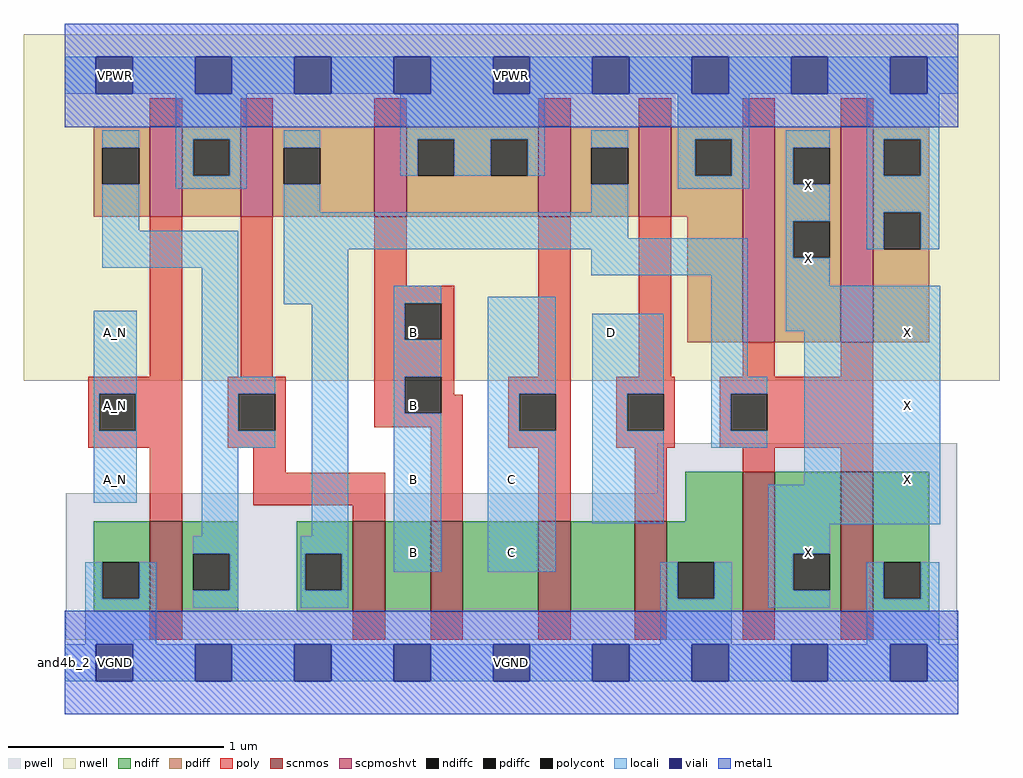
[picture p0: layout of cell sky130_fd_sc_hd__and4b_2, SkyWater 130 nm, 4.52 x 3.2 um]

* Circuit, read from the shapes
.subckt sky130_fd_sc_hd__and4b_2 A_N B C D VGND VNB VPB VPWR X
XM1 n1 A_N VGND VNB sky130_fd_pr__nfet_01v8 w=0.42 l=0.15
XM2 n2 n1 n3 VNB sky130_fd_pr__nfet_01v8 w=0.42 l=0.15
XM3 n4 B n2 VNB sky130_fd_pr__nfet_01v8 w=0.42 l=0.15
XM4 n5 C n4 VNB sky130_fd_pr__nfet_01v8 w=0.42 l=0.15
XM5 VGND D n5 VNB sky130_fd_pr__nfet_01v8 w=0.42 l=0.15
XM6 X n3 VGND VNB sky130_fd_pr__nfet_01v8 w=0.65 l=0.15 m=2
XM7 VPWR A_N n1 VPB sky130_fd_pr__pfet_01v8_hvt w=0.42 l=0.15
XM8 n3 n1 VPWR VPB sky130_fd_pr__pfet_01v8_hvt w=0.42 l=0.15
XM9 VPWR B n3 VPB sky130_fd_pr__pfet_01v8_hvt w=0.42 l=0.15
XM10 n3 C VPWR VPB sky130_fd_pr__pfet_01v8_hvt w=0.42 l=0.15
XM11 VPWR D n3 VPB sky130_fd_pr__pfet_01v8_hvt w=0.42 l=0.15
XM12 X n3 VPWR VPB sky130_fd_pr__pfet_01v8_hvt w=1 l=0.15 m=2
.ends

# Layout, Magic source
magic
tech sky130A
magscale 1 2
<< nwell >>
rect -38 261 866 582
<< pwell >>
rect 549 157 827 203
rect 1 21 827 157
rect 30 -17 64 21
<< scnmos >>
rect 79 47 109 131
rect 267 47 297 131
rect 339 47 369 131
rect 439 47 469 131
rect 528 47 558 131
rect 628 47 658 177
rect 719 47 749 177
<< scpmoshvt >>
rect 79 413 109 497
rect 163 413 193 497
rect 287 413 317 497
rect 439 413 469 497
rect 532 413 562 497
rect 628 297 658 497
rect 719 297 749 497
<< ndiff >>
rect 575 131 628 177
rect 27 93 79 131
rect 27 59 35 93
rect 69 59 79 93
rect 27 47 79 59
rect 109 101 161 131
rect 109 67 119 101
rect 153 67 161 101
rect 109 47 161 67
rect 215 101 267 131
rect 215 67 223 101
rect 257 67 267 101
rect 215 47 267 67
rect 297 47 339 131
rect 369 47 439 131
rect 469 47 528 131
rect 558 93 628 131
rect 558 59 568 93
rect 602 59 628 93
rect 558 47 628 59
rect 658 101 719 177
rect 658 67 675 101
rect 709 67 719 101
rect 658 47 719 67
rect 749 93 801 177
rect 749 59 759 93
rect 793 59 801 93
rect 749 47 801 59
<< pdiff >>
rect 27 477 79 497
rect 27 443 35 477
rect 69 443 79 477
rect 27 413 79 443
rect 109 485 163 497
rect 109 451 119 485
rect 153 451 163 485
rect 109 413 163 451
rect 193 477 287 497
rect 193 443 203 477
rect 237 443 287 477
rect 193 413 287 443
rect 317 485 439 497
rect 317 451 327 485
rect 361 451 395 485
rect 429 451 439 485
rect 317 413 439 451
rect 469 477 532 497
rect 469 443 488 477
rect 522 443 532 477
rect 469 413 532 443
rect 562 485 628 497
rect 562 451 584 485
rect 618 451 628 485
rect 562 413 628 451
rect 577 297 628 413
rect 658 477 719 497
rect 658 443 675 477
rect 709 443 719 477
rect 658 409 719 443
rect 658 375 675 409
rect 709 375 719 409
rect 658 297 719 375
rect 749 485 801 497
rect 749 451 759 485
rect 793 451 801 485
rect 749 417 801 451
rect 749 383 759 417
rect 793 383 801 417
rect 749 297 801 383
<< ndiffc >>
rect 35 59 69 93
rect 119 67 153 101
rect 223 67 257 101
rect 568 59 602 93
rect 675 67 709 101
rect 759 59 793 93
<< pdiffc >>
rect 35 443 69 477
rect 119 451 153 485
rect 203 443 237 477
rect 327 451 361 485
rect 395 451 429 485
rect 488 443 522 477
rect 584 451 618 485
rect 675 443 709 477
rect 675 375 709 409
rect 759 451 793 485
rect 759 383 793 417
<< poly >>
rect 79 497 109 523
rect 163 497 193 523
rect 287 497 317 523
rect 439 497 469 523
rect 532 497 562 523
rect 628 497 658 523
rect 719 497 749 523
rect 79 265 109 413
rect 163 265 193 413
rect 287 349 317 413
rect 287 333 361 349
rect 287 299 315 333
rect 349 299 361 333
rect 287 265 361 299
rect 439 265 469 413
rect 532 265 562 413
rect 628 265 658 297
rect 719 265 749 297
rect 22 249 109 265
rect 22 215 32 249
rect 66 215 109 249
rect 22 199 109 215
rect 151 249 205 265
rect 151 215 161 249
rect 195 215 205 249
rect 287 231 315 265
rect 349 248 361 265
rect 411 249 469 265
rect 349 231 369 248
rect 287 218 369 231
rect 151 199 205 215
rect 79 131 109 199
rect 175 176 205 199
rect 175 146 297 176
rect 267 131 297 146
rect 339 131 369 218
rect 411 215 421 249
rect 455 215 469 249
rect 411 199 469 215
rect 511 249 565 265
rect 511 215 521 249
rect 555 215 565 249
rect 511 199 565 215
rect 607 249 749 265
rect 607 215 617 249
rect 651 215 749 249
rect 607 199 749 215
rect 439 131 469 199
rect 528 131 558 199
rect 628 177 658 199
rect 719 177 749 199
rect 79 21 109 47
rect 267 21 297 47
rect 339 21 369 47
rect 439 21 469 47
rect 528 21 558 47
rect 628 21 658 47
rect 719 21 749 47
<< polycont >>
rect 315 299 349 333
rect 32 215 66 249
rect 161 215 195 249
rect 315 231 349 265
rect 421 215 455 249
rect 521 215 555 249
rect 617 215 651 249
<< locali >>
rect 0 527 29 561
rect 63 527 121 561
rect 155 527 213 561
rect 247 527 305 561
rect 339 527 397 561
rect 431 527 489 561
rect 523 527 581 561
rect 615 527 673 561
rect 707 527 765 561
rect 799 527 828 561
rect 35 477 69 493
rect 35 400 69 443
rect 103 485 169 527
rect 103 451 119 485
rect 153 451 169 485
rect 103 439 169 451
rect 203 477 237 493
rect 311 485 445 527
rect 311 451 327 485
rect 361 451 395 485
rect 429 451 445 485
rect 488 477 522 493
rect 203 417 237 443
rect 488 417 522 443
rect 568 485 634 527
rect 568 451 584 485
rect 618 451 634 485
rect 568 439 634 451
rect 668 477 709 493
rect 668 443 675 477
rect 35 366 161 400
rect 27 249 67 326
rect 27 215 32 249
rect 66 215 67 249
rect 27 148 67 215
rect 127 265 161 366
rect 203 393 522 417
rect 668 409 709 443
rect 203 383 633 393
rect 203 332 263 383
rect 488 359 633 383
rect 127 249 195 265
rect 127 215 161 249
rect 127 199 195 215
rect 127 117 161 199
rect 229 117 263 332
rect 119 101 161 117
rect 19 59 35 93
rect 69 59 85 93
rect 19 17 85 59
rect 153 67 161 101
rect 119 51 161 67
rect 219 101 263 117
rect 219 67 223 101
rect 257 67 263 101
rect 305 333 349 349
rect 305 299 315 333
rect 305 265 349 299
rect 305 231 315 265
rect 305 84 349 231
rect 392 249 455 339
rect 392 215 421 249
rect 392 84 455 215
rect 489 249 555 323
rect 489 215 521 249
rect 489 129 555 215
rect 599 265 633 359
rect 668 375 675 409
rect 743 485 810 527
rect 743 451 759 485
rect 793 451 810 485
rect 743 417 810 451
rect 743 383 759 417
rect 793 383 810 417
rect 668 349 709 375
rect 668 307 811 349
rect 599 249 651 265
rect 599 215 617 249
rect 599 199 651 215
rect 685 165 811 307
rect 652 128 811 165
rect 652 101 709 128
rect 219 51 263 67
rect 552 59 568 93
rect 602 59 618 93
rect 552 17 618 59
rect 652 67 675 101
rect 652 51 709 67
rect 743 59 759 93
rect 793 59 810 93
rect 743 17 810 59
rect 0 -17 29 17
rect 63 -17 121 17
rect 155 -17 213 17
rect 247 -17 305 17
rect 339 -17 397 17
rect 431 -17 489 17
rect 523 -17 581 17
rect 615 -17 673 17
rect 707 -17 765 17
rect 799 -17 828 17
<< viali >>
rect 29 527 63 561
rect 121 527 155 561
rect 213 527 247 561
rect 305 527 339 561
rect 397 527 431 561
rect 489 527 523 561
rect 581 527 615 561
rect 673 527 707 561
rect 765 527 799 561
rect 29 -17 63 17
rect 121 -17 155 17
rect 213 -17 247 17
rect 305 -17 339 17
rect 397 -17 431 17
rect 489 -17 523 17
rect 581 -17 615 17
rect 673 -17 707 17
rect 765 -17 799 17
<< metal1 >>
rect 0 561 828 592
rect 0 527 29 561
rect 63 527 121 561
rect 155 527 213 561
rect 247 527 305 561
rect 339 527 397 561
rect 431 527 489 561
rect 523 527 581 561
rect 615 527 673 561
rect 707 527 765 561
rect 799 527 828 561
rect 0 496 828 527
rect 0 17 828 48
rect 0 -17 29 17
rect 63 -17 121 17
rect 155 -17 213 17
rect 247 -17 305 17
rect 339 -17 397 17
rect 431 -17 489 17
rect 523 -17 581 17
rect 615 -17 673 17
rect 707 -17 765 17
rect 799 -17 828 17
rect 0 -48 828 -17
<< labels >>
flabel metal1 s 30 527 64 561 0 FreeSans 200 0 0 0 VPWR
port 8 nsew power bidirectional abutment
flabel metal1 s 30 -17 64 17 0 FreeSans 200 0 0 0 VGND
port 5 nsew ground bidirectional abutment
flabel locali s 764 153 798 187 0 FreeSans 200 0 0 0 X
port 9 nsew signal output
flabel locali s 764 221 798 255 0 FreeSans 200 0 0 0 X
port 9 nsew signal output
flabel locali s 764 289 798 323 0 FreeSans 200 0 0 0 X
port 9 nsew signal output
flabel locali s 30 289 64 323 0 FreeSans 200 0 0 0 A_N
port 1 nsew signal input
flabel locali s 672 85 706 119 0 FreeSans 200 0 0 0 X
port 9 nsew signal output
flabel locali s 672 357 706 391 0 FreeSans 200 0 0 0 X
port 9 nsew signal output
flabel locali s 672 425 706 459 0 FreeSans 200 0 0 0 X
port 9 nsew signal output
flabel locali s 30 221 64 255 0 FreeSans 200 0 0 0 A_N
port 1 nsew signal input
flabel locali s 490 289 524 323 0 FreeSans 200 0 0 0 D
port 4 nsew signal input
flabel locali s 397 85 431 119 0 FreeSans 200 0 0 0 C
port 3 nsew signal input
flabel locali s 397 153 431 187 0 FreeSans 200 0 0 0 C
port 3 nsew signal input
flabel locali s 306 85 340 119 0 FreeSans 200 0 0 0 B
port 2 nsew signal input
flabel locali s 306 153 340 187 0 FreeSans 200 0 0 0 B
port 2 nsew signal input
flabel locali s 306 221 340 255 0 FreeSans 200 0 0 0 B
port 2 nsew signal input
flabel locali s 306 289 340 323 0 FreeSans 200 0 0 0 B
port 2 nsew signal input
flabel locali s 30 153 64 187 0 FreeSans 200 0 0 0 A_N
port 1 nsew signal input
flabel pwell s 30 -17 64 17 0 FreeSans 200 0 0 0 VNB
port 6 nsew ground bidirectional
flabel nwell s 30 527 64 561 0 FreeSans 200 0 0 0 VPB
port 7 nsew power bidirectional
rlabel comment s 0 0 0 0 4 and4b_2
rlabel metal1 s 0 -48 828 48 1 VGND
port 5 nsew ground bidirectional abutment
rlabel metal1 s 0 496 828 592 1 VPWR
port 8 nsew power bidirectional abutment
<< properties >>
string FIXED_BBOX 0 0 828 544
string GDS_END 3050768
string GDS_FILE $PDKPATH/libs.ref/sky130_fd_sc_hd/gds/sky130_fd_sc_hd.gds
string GDS_START 3042556
string LEFclass CORE
string LEFsite unithd
string LEFsymmetry X Y R90
string path 0.000 0.000 20.700 0.000 
<< end >>
